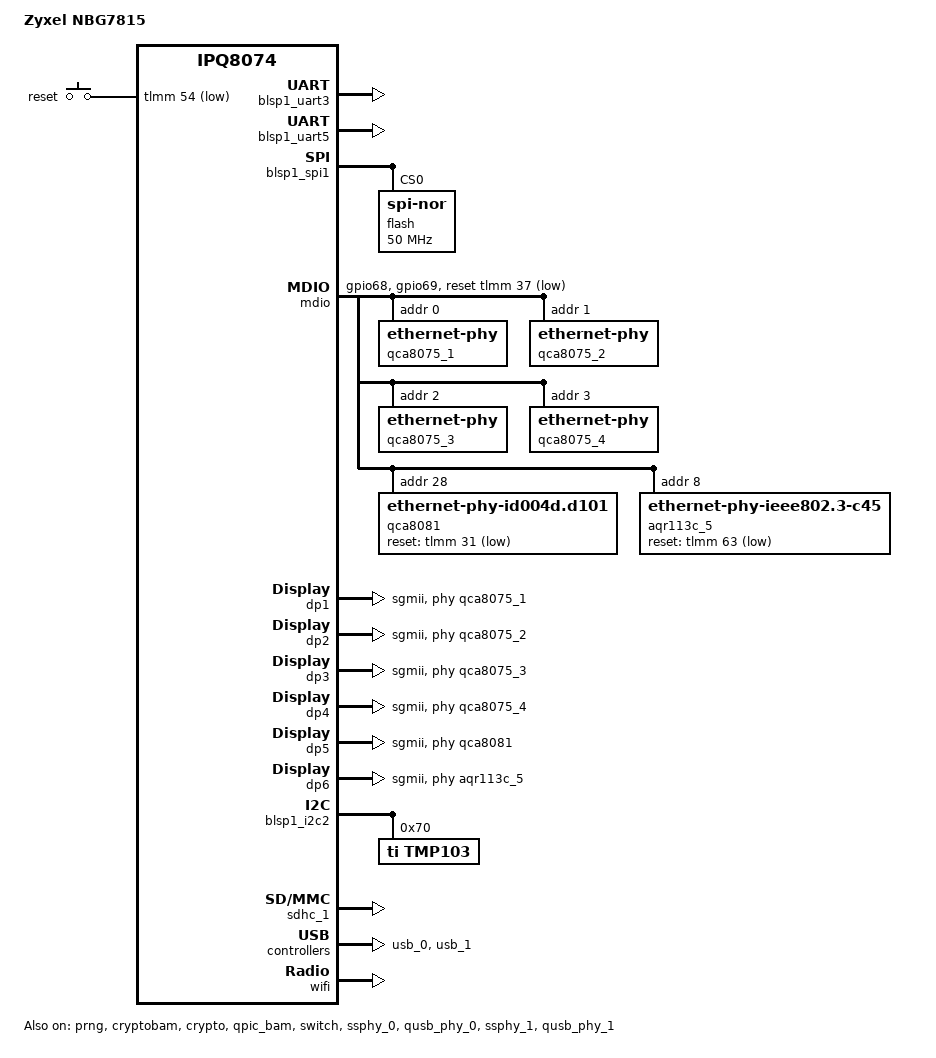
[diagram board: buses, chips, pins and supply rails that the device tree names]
// SPDX-License-Identifier: GPL-2.0-or-later OR MIT
/* Copyright (c) 2022, Karol Przybylski <itor@o2.pl> */

/dts-v1/;

#include "ipq8074.dtsi"
#include "ipq8074-hk-cpu.dtsi"
#include "ipq8074-ess.dtsi"
#include <dt-bindings/gpio/gpio.h>
#include <dt-bindings/leds/common.h>
#include <dt-bindings/input/input.h>


/ {
	model = "Zyxel NBG7815";
	compatible = "zyxel,nbg7815", "qcom,ipq8074";

	aliases {
		serial0 = &blsp1_uart5;
		serial1 = &blsp1_uart3;
		/* Aliases as required by u-boot to patch MAC addresses */
		ethernet0 = &dp1;
		ethernet1 = &dp2;
		ethernet2 = &dp3;
		ethernet3 = &dp4;
		ethernet4 = &dp5;
		ethernet5 = &dp6;
		label-mac-device = &dp1;
	};

	chosen {
		stdout-path = "serial0:115200n8";
	};

	keys {
		compatible = "gpio-keys";

		reset {
			label = "reset";
			linux,code = <KEY_RESTART>;
			gpios = <&tlmm 54 GPIO_ACTIVE_LOW>;
		};
	};
};

&tlmm {
	btcoex_pins: btcoex_pins {
		mux_0 {
			pins = "gpio64";
			function = "pta1_1";
			drive-strength = <6>;
			bias-pull-down;
		};
		mux_1 {
			pins = "gpio65";
			function = "pta1_2";
			drive-strength = <6>;
			bias-pull-down;
		};
		mux_2 {
			pins = "gpio66";
			function = "pta1_0";
			drive-strength = <6>;
			bias-pull-down;
		};
	};

	mdio_pins: mdio-pins {
		mdc {
			pins = "gpio68";
			function = "mdc";
			drive-strength = <8>;
			bias-pull-up;
		};

		mdio {
			pins = "gpio69";
			function = "mdio";
			drive-strength = <8>;
			bias-pull-up;
		};
	};

	i2c_1_pins: i2c_1_pinmux {
			pins = "gpio50", "gpio51";
			function = "blsp3_i2c";
			drive-strength = <8>;
			bias-disable;
	};

	button_pins {
		wps_button {
			pins = "gpio54";
			function = "gpio";
			drive-strength = <8>;
			bias-pull-up;
		};
	};

	gpio_pinmux {
		mux_1 {
			pins = "gpio21", "gpio22", "gpio32", "gpio31", "gpio37", "gpio60";
			function = "gpio";
			drive-strength = <2>;
			output-high;
			bias-disable;
		};

		mux_2 {
			pins = "gpio25", "gpio26", "gpio44", "gpio54", "gpio59";
			function = "gpio";
			input-enable;
			bias-disable;
		};
	};
};


&blsp1_uart3 {
	status = "okay";
};

&blsp1_uart5 {
	status = "okay";
};

&prng {
	status = "okay";
};

&cryptobam {
	status = "okay";
};

&crypto {
	status = "okay";
};

&qpic_bam {
	status = "okay";
};


&blsp1_spi1 {
	pinctrl-0 = <&spi_0_pins>;
	pinctrl-names = "default";
	cs-gpios = <0>;
	status = "okay";

	flash@0 {
		#address-cells = <1>;
		#size-cells = <1>;
		reg = <0>;
		compatible = "jedec,spi-nor";
		spi-max-frequency = <50000000>;

		partitions {
			compatible = "qcom,smem-part";
		};
	};
};

&mdio {
	status = "okay";
	pinctrl-0 = <&mdio_pins>;
	pinctrl-names = "default";
	reset-gpios = <&tlmm 37 GPIO_ACTIVE_LOW>;

	qca8075_1: ethernet-phy@0 {
		reg = <0>;
	};

	qca8075_2: ethernet-phy@1 {
		reg = <1>;
	};

	qca8075_3: ethernet-phy@2 {
		reg = <2>;
	};

	qca8075_4: ethernet-phy@3 {
		reg = <3>;
	};

	qca8081: ethernet-phy@4{
		compatible = "ethernet-phy-id004d.d101";
		reg = <28>;
		reset-gpios = <&tlmm 31 GPIO_ACTIVE_LOW>;
	};

	aqr113c_5: ethernet-phy@5 {
		compatible ="ethernet-phy-ieee802.3-c45";
		reg = <8>;
		reset-gpios = <&tlmm 63 GPIO_ACTIVE_LOW>;
	};
};

&switch {
		status = "okay";
		switch_cpu_bmp = <0x1>;
		switch_lan_bmp = <0x3e>;
		switch_wan_bmp = <0x40>;
		switch_mac_mode = <0x0>;
		switch_mac_mode1 = <0xf>;
		switch_mac_mode2 = <0xd>;
		bm_tick_mode = <0>;
		tm_tick_mode = <0>;
		qcom,port_phyinfo {
			port@0 {
				port_id = <1>;
				phy_address = <0>;
			};
			port@1 {
				port_id = <2>;
				phy_address = <1>;
			};
			port@2 {
				port_id = <3>;
				phy_address = <2>;
			};
			port@3 {
				port_id = <4>;
				phy_address = <3>;
			};
			port@4 {
				port_id = <5>;
				phy_address = <28>;
				port_mac_sel = "QGMAC_PORT";
			};
			port@5 {
				port_id = <6>;
				ethernet-phy-ieee802.3-c45;
				phy_address = <8>;
			};
		};

	port_scheduler_resource {
		port@0 {
			port_id = <0>;
			ucast_queue = <0 143>;
			mcast_queue = <256 271>;
			l0sp = <0 35>;
			l0cdrr = <0 47>;
			l0edrr = <0 47>;
			l1cdrr = <0 7>;
			l1edrr = <0 7>;
		};
		port@1 {
			port_id = <1>;
			ucast_queue = <144 159>;
			mcast_queue = <272 275>;
			l0sp = <36 39>;
			l0cdrr = <48 63>;
			l0edrr = <48 63>;
			l1cdrr = <8 11>;
			l1edrr = <8 11>;
		};
		port@2 {
			port_id = <2>;
			ucast_queue = <160 175>;
			mcast_queue = <276 279>;
			l0sp = <40 43>;
			l0cdrr = <64 79>;
			l0edrr = <64 79>;
			l1cdrr = <12 15>;
			l1edrr = <12 15>;
		};
		port@3 {
			port_id = <3>;
			ucast_queue = <176 191>;
			mcast_queue = <280 283>;
			l0sp = <44 47>;
			l0cdrr = <80 95>;
			l0edrr = <80 95>;
			l1cdrr = <16 19>;
			l1edrr = <16 19>;
		};
		port@4 {
			port_id = <4>;
			ucast_queue = <192 207>;
			mcast_queue = <284 287>;
			l0sp = <48 51>;
			l0cdrr = <96 111>;
			l0edrr = <96 111>;
			l1cdrr = <20 23>;
			l1edrr = <20 23>;
		};
		port@5 {
			port_id = <5>;
			ucast_queue = <208 223>;
			mcast_queue = <288 291>;
			l0sp = <52 55>;
			l0cdrr = <112 127>;
			l0edrr = <112 127>;
			l1cdrr = <24 27>;
			l1edrr = <24 27>;
		};
		port@6 {
			port_id = <6>;
			ucast_queue = <224 239>;
			mcast_queue = <292 295>;
			l0sp = <56 59>;
			l0cdrr = <128 143>;
			l0edrr = <128 143>;
			l1cdrr = <28 31>;
			l1edrr = <28 31>;
		};
		port@7 {
			port_id = <7>;
			ucast_queue = <240 255>;
			mcast_queue = <296 299>;
			l0sp = <60 63>;
			l0cdrr = <144 159>;
			l0edrr = <144 159>;
			l1cdrr = <32 35>;
			l1edrr = <32 35>;
		};
	};
	port_scheduler_config {
		port@0 {
			port_id = <0>;
			l1scheduler {
				group@0 {
					sp = <0 1>;
					cfg = <0 0 0 0>;
				};
			};
			l0scheduler {
				group@0 {
					ucast_queue = <0 4 8>;
					mcast_queue = <256 260>;
					cfg = <0 0 0 0 0>;
				};
				group@1 {
					ucast_queue = <1 5 9>;
					mcast_queue = <257 261>;
					cfg = <0 1 1 1 1>;
				};
				group@2 {
					ucast_queue = <2 6 10>;
					mcast_queue = <258 262>;
					cfg = <0 2 2 2 2>;
				};
				group@3 {
					ucast_queue = <3 7 11>;
					mcast_queue = <259 263>;
					cfg = <0 3 3 3 3>;
				};
			};
		};
		port@1 {
			port_id = <1>;
			l1scheduler {
				group@0 {
					sp = <36>;
					cfg = <0 8 0 8>;
				};
				group@1 {
					sp = <37>;
					cfg = <1 9 1 9>;
				};
			};
			l0scheduler {
				group@0 {
					ucast_queue = <144>;
					ucast_loop_pri = <16>;
					mcast_queue = <272>;
					mcast_loop_pri = <4>;
					cfg = <36 0 48 0 48>;
				};
			};
		};
		port@2 {
			port_id = <2>;
			l1scheduler {
				group@0 {
					sp = <40>;
					cfg = <0 12 0 12>;
				};
				group@1 {
					sp = <41>;
					cfg = <1 13 1 13>;
				};
			};
			l0scheduler {
				group@0 {
					ucast_queue = <160>;
					ucast_loop_pri = <16>;
					mcast_queue = <276>;
					mcast_loop_pri = <4>;
					cfg = <40 0 64 0 64>;
				};
			};
		};
		port@3 {
			port_id = <3>;
			l1scheduler {
				group@0 {
					sp = <44>;
					cfg = <0 16 0 16>;
				};
				group@1 {
					sp = <45>;
					cfg = <1 17 1 17>;
				};
			};
			l0scheduler {
				group@0 {
					ucast_queue = <176>;
					ucast_loop_pri = <16>;
					mcast_queue = <280>;
					mcast_loop_pri = <4>;
					cfg = <44 0 80 0 80>;
				};
			};
		};
		port@4 {
			port_id = <4>;
			l1scheduler {
				group@0 {
					sp = <48>;
					cfg = <0 20 0 20>;
				};
				group@1 {
					sp = <49>;
					cfg = <1 21 1 21>;
				};
			};
			l0scheduler {
				group@0 {
					ucast_queue = <192>;
					ucast_loop_pri = <16>;
					mcast_queue = <284>;
					mcast_loop_pri = <4>;
					cfg = <48 0 96 0 96>;
				};
			};
		};
		port@5 {
			port_id = <5>;
			l1scheduler {
				group@0 {
					sp = <52>;
					cfg = <0 24 0 24>;
				};
				group@1 {
					sp = <53>;
					cfg = <1 25 1 25>;
				};
			};
			l0scheduler {
				group@0 {
					ucast_queue = <208>;
					ucast_loop_pri = <16>;
					mcast_queue = <288>;
					mcast_loop_pri = <4>;
					cfg = <52 0 112 0 112>;
				};
			};
		};
		port@6 {
			port_id = <6>;
			l1scheduler {
				group@0 {
					sp = <56>;
					cfg = <0 28 0 28>;
				};
				group@1 {
					sp = <57>;
					cfg = <1 29 1 29>;
				};
			};
			l0scheduler {
				group@0 {
					ucast_queue = <224>;
					ucast_loop_pri = <16>;
					mcast_queue = <292>;
					mcast_loop_pri = <4>;
					cfg = <56 0 128 0 128>;
				};
			};
		};
		port@7 {
			port_id = <7>;
			l1scheduler {
				group@0 {
					sp = <60>;
					cfg = <0 32 0 32>;
				};
				group@1 {
					sp = <61>;
					cfg = <1 33 1 33>;
				};
			};
			l0scheduler {
				group@0 {
					ucast_queue = <240>;
					ucast_loop_pri = <16>;
					mcast_queue = <296>;
					cfg = <60 0 144 0 144>;
				};
			};
		};
	};
};

&edma {
	status = "okay";
};

&soc {
	dp1: dp1 {
		device_type = "network";
		compatible = "qcom,nss-dp";
		qcom,id = <1>;
		reg = <0x3a001000 0x200>;
		qcom,mactype = <0>;
		local-mac-address = [00 00 00 00 00 00];
		phy-handle = <&qca8075_1>;
		phy-mode = "sgmii";
		label = "lan1";
	};

	dp2: dp2 {
		device_type = "network";
		compatible = "qcom,nss-dp";
		qcom,id = <2>;
		reg = <0x3a001200 0x200>;
		qcom,mactype = <0>;
		local-mac-address = [00 00 00 00 00 00];
		phy-handle = <&qca8075_2>;
		phy-mode = "sgmii";
		label = "lan2";
	};

	dp3: dp3 {
		device_type = "network";
		compatible = "qcom,nss-dp";
		qcom,id = <3>;
		reg = <0x3a001400 0x200>;
		qcom,mactype = <0>;
		local-mac-address = [00 00 00 00 00 00];
		phy-handle = <&qca8075_3>;
		phy-mode = "sgmii";
		label = "lan3";
	};

	dp4: dp4 {
		device_type = "network";
		compatible = "qcom,nss-dp";
		qcom,id = <4>;
		reg = <0x3a001600 0x200>;
		qcom,mactype = <0>;
		local-mac-address = [00 00 00 00 00 00];
		phy-handle = <&qca8075_4>;
		phy-mode = "sgmii";
		label = "lan4";
	};

	dp5: dp5 {
		device_type = "network";
		compatible = "qcom,nss-dp";
		qcom,id = <5>;
		reg = <0x3a001800 0x200>;
		qcom,mactype = <0>;
		local-mac-address = [00 00 00 00 00 00];
		phy-handle = <&qca8081>;
		phy-mode = "sgmii";
		label = "wan";
	};

	dp6: dp6 {
		device_type = "network";
		compatible = "qcom,nss-dp";
		qcom,id = <6>;
		reg = <0x3a007000 0x3fff>;
		qcom,mactype = <1>;
		local-mac-address = [00 00 00 00 00 00];
		phy-handle = <&aqr113c_5>;
		phy-mode = "sgmii";
		label = "10g";
	};
};

&blsp1_i2c2 {
	pinctrl-0 = <&i2c_0_pins>;
	pinctrl-names = "default";
	status = "okay";

	tmp103@70 {
		compatible = "ti,tmp103";
		reg = <0x70>;
	};
};

&sdhc_1 {
	status = "okay";
	/* unstable, problem with the hs400 > h200 speed switch */
	/delete-property/ mmc-hs400-1_8v;
	mmc-hs200-1_8v;
	mmc-ddr-1_8v;
	vqmmc-supply = <&l11>;
};

&ssphy_0 {
	status = "okay";
};

&qusb_phy_0 {
	status = "okay";
};

&ssphy_1 {
	status = "okay";
};

&qusb_phy_1 {
	status = "okay";
};

&usb_0 {
	status = "okay";
};

&usb_1 {
	status = "okay";
};

&wifi {
	status = "okay";

	qcom,ath11k-calibration-variant = "Zyxel-NBG7815";
};
